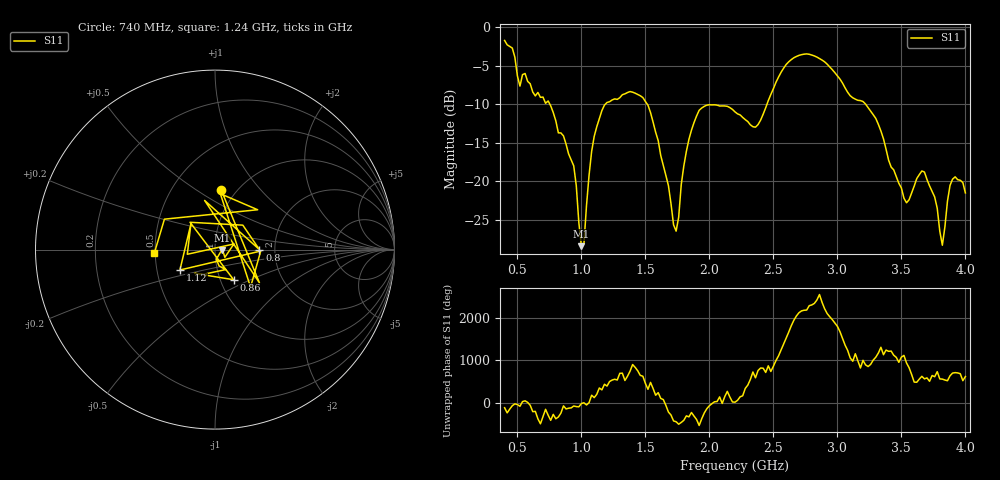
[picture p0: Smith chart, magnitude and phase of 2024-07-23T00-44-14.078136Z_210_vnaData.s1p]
!Created with skrf (http://scikit-rf.org).
# Hz S RI R 50.0
!freq ReS11 ImS11
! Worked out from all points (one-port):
!   181 points, 400 MHz to 4 GHz, reference 50 ohm
!   lowest |S11| = -28.4 dB at 1 GHz (marker M1), VSWR 1.08, Z = 53.9 - j0.303 ohm
!   |S11| at or under -10 dB: 754.1 MHz to 1.186 GHz (431.4 MHz wide, 44.5 % of centre); 1.516 GHz to 2.449 GHz (933.8 MHz wide, 47.1 % of centre); 3.222 GHz to end of sweep
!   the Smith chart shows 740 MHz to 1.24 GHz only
!   S11 on the Smith chart (normalised r, x): 740 MHz: 0.85, +0.64; 800 MHz: 1.66, +0.00; 860 MHz: 1.16, -0.40; 1.12 GHz: 0.66, -0.16; 1.24 GHz: 0.50, -0.02
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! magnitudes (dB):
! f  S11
! 400 MHz  -1.7
! 520 MHz  -7.6
! 740 MHz  -9.6
! 800 MHz  -12.1
! 860 MHz  -14.1
! 940 MHz  -18.0
! 1 GHz  -28.4
! 1.02 GHz  -28.1
! 1.08 GHz  -16.1
! 1.12 GHz  -12.9
! 1.24 GHz  -9.4
! 1.3 GHz  -9.1
! 1.52 GHz  -10.1
! 1.72 GHz  -25.7
! 1.76 GHz  -24.7
! 1.82 GHz  -16.1
! 1.92 GHz  -10.8
! 2.2 GHz  -11.0
! 2.36 GHz  -13.0
! 2.66 GHz  -3.9
! 3.1 GHz  -8.9
! 3.3 GHz  -11.8
! 3.56 GHz  -22.4
! 3.68 GHz  -18.8
! 3.76 GHz  -22.0
! 3.82 GHz  -28.3
! 3.9 GHz  -19.7
! 4 GHz  -21.5
